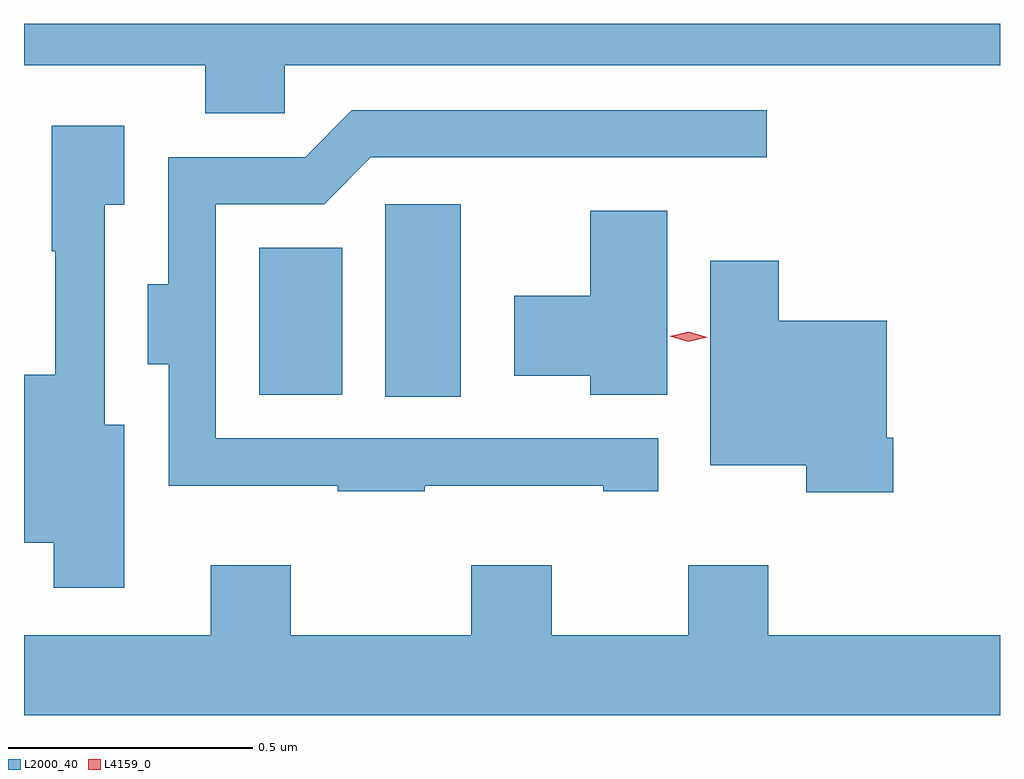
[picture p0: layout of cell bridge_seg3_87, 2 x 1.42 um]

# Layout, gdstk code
import gdstk
lib = gdstk.Library(unit=1e-6, precision=1e-09)
def R(c, l, rs):  # rectangles x0, y0, x1, y1
    for r in rs: c.add(gdstk.rectangle(r[:2], r[2:], *l))
def P(c, l, *ps):  # polygons
    for p in ps: c.add(gdstk.Polygon(p, *l))
L2000_40 = (2000, 40)
L4159_0 = (4159, 0)

bridge_seg3_87 = lib.new_cell('bridge_seg3_87')
R(bridge_seg3_87, L2000_40, [(426.212,709.561,426.367,709.956), (425.954,709.565,426.124,709.867)])
P(bridge_seg3_87, L2000_40, [(426.006,710.24),(427.472,710.24),(427.472,710.326),(425.472,710.326),(425.472,710.24),(425.843,710.24),(425.843,710.142),(426.006,710.142)],
  [(426.293,709.379),(426.659,709.379),(426.659,709.368),(426.772,709.368),(426.772,709.476),(425.865,709.476),(425.865,709.956),(426.087,709.956),(426.183,710.052),(426.994,710.052),(426.994,710.148),(426.144,710.148),(426.048,710.052),(425.768,710.052),(425.768,709.792),(425.726,709.792),(425.726,709.628),(425.769,709.628),(425.769,709.379),(426.115,709.379),(426.115,709.368),(426.293,709.368)],
  [(425.677,709.504),(425.637,709.504),(425.637,709.955),(425.677,709.955),(425.677,710.116),(425.529,710.116),(425.529,709.859),(425.536,709.859),(425.536,709.606),(425.472,709.606),(425.472,709.262),(425.533,709.262),(425.533,709.17),(425.677,709.17)],
  [(426.79,709.942),(426.632,709.942),(426.632,709.768),(426.477,709.768),(426.477,709.604),(426.632,709.604),(426.632,709.565),(426.79,709.565)],
  [(427.253,709.477),(427.24,709.477),(427.24,709.717),(427.019,709.717),(427.019,709.84),(426.878,709.84),(426.878,709.421),(427.075,709.421),(427.075,709.365),(427.253,709.365)],
  [(427.472,709.072),(426.997,709.072),(426.997,709.216),(426.833,709.216),(426.833,709.072),(426.553,709.072),(426.553,709.216),(426.389,709.216),(426.389,709.072),(426.019,709.072),(426.019,709.216),(425.855,709.216),(425.855,709.072),(425.472,709.072),(425.472,708.908),(427.472,708.908)])
P(bridge_seg3_87, L4159_0, [(426.833,709.674),(426.795,709.685),(426.795,709.685),(426.795,709.685),(426.834,709.694),(426.872,709.683),(426.872,709.683),(426.872,709.683)])

lib.write_gds('bridge_seg3_87.gds')
